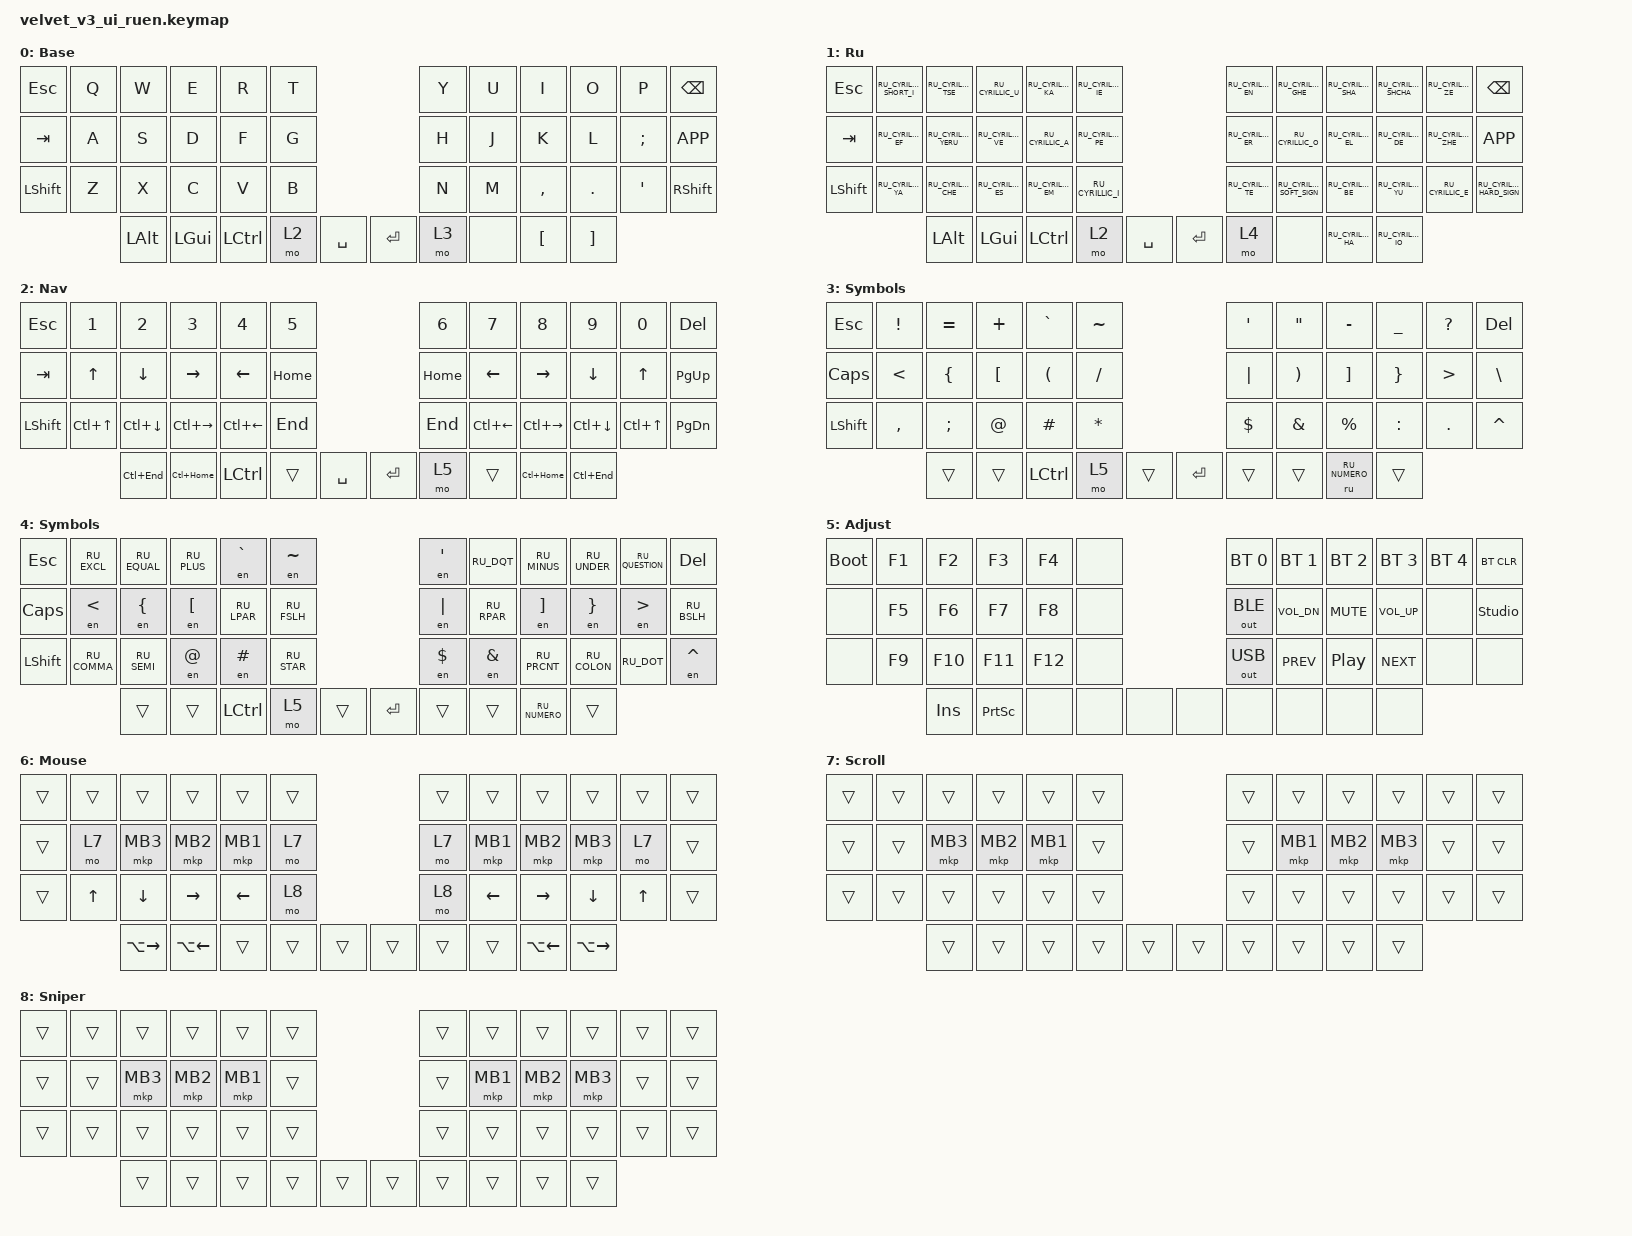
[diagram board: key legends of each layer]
#include "keys_ru.h"
#include <dt-bindings/zmk/input_transform.h>
#include <input/processors.dtsi>
#include <zephyr/dt-bindings/input/input-event-codes.h>
#include <behaviors.dtsi>
#include <dt-bindings/zmk/bt.h>
#include <dt-bindings/zmk/keys.h>
#include <dt-bindings/zmk/outputs.h>
#include <dt-bindings/zmk/pointing.h>

/ {
    behaviors {
        cap_sen: cap_sen {
            compatible = "zmk,behavior-hold-tap";
            label = "CAP_SEN";
            bindings = <&mo>, <&mkp>;

            #binding-cells = <2>;
            tapping-term-ms = <150>;
            hold-while-undecided;
        };

        mouse_layer: mouse_layer {
            compatible = "zmk,behavior-sticky-key";
            label = "MOUSE_LAYER";
            bindings = <&mo>;
            #binding-cells = <1>;
            release-after-ms = <500>;
        };

        zip_auto_mouse: zip_auto_mouse {
            compatible = "zmk,input-processor-temp-layer";
            #input-processor-cells = <2>;
            require-prior-idle-ms = <800>;
            excluded-positions = <>;
        };
    };

    combos {
        compatible = "zmk,combos";

        cmben {
            bindings = <&layer_en>;
            key-positions = <19 20>;
            layers = <1>;
        };

        cmbru {
            bindings = <&layer_ru>;
            key-positions = <15 16>;
            layers = <0>;
        };
    };

    macros {
        to_ru: to_ru {
            compatible = "zmk,behavior-macro";
            #binding-cells = <0>;
            bindings = <&kp LS(LC(N2))>;
            label = "TO_RU";
            wait-ms = <0>;
            tap-ms = <30>;
        };

        to_en: to_en {
            compatible = "zmk,behavior-macro";
            #binding-cells = <0>;
            bindings = <&kp LS(LC(N1))>;
            label = "TO_EN";
            wait-ms = <0>;
            tap-ms = <30>;
        };

        layer_en: layer_en {
            compatible = "zmk,behavior-macro";
            #binding-cells = <0>;
            bindings = <&to 0 &to_en>;
            label = "LAYER_EN";
            wait-ms = <0>;
            tap-ms = <30>;
        };

        layer_ru: layer_ru {
            compatible = "zmk,behavior-macro";
            #binding-cells = <0>;
            bindings = <&to 1 &to_ru>;
            label = "LAYER_RU";
            tap-ms = <30>;
            wait-ms = <0>;
        };

        en: en {
            compatible = "zmk,behavior-macro-one-param";
            #binding-cells = <1>;
            bindings =
                <&to_en>,
                <&macro_press>,
                <&macro_param_1to1 &kp MACRO_PLACEHOLDER>,
                <&macro_pause_for_release>,
                <&macro_release>,
                <&macro_param_1to1 &kp MACRO_PLACEHOLDER>,
                <&macro_tap>,
                <&to_ru>;

            label = "EN";
            wait-ms = <0>;
            tap-ms = <30>;
        };

        ru: ru {
            compatible = "zmk,behavior-macro-one-param";
            #binding-cells = <1>;
            bindings =
                <&to_ru>,
                <&macro_press>,
                <&macro_param_1to1 &kp MACRO_PLACEHOLDER>,
                <&macro_pause_for_release>,
                <&macro_release>,
                <&macro_param_1to1 &kp MACRO_PLACEHOLDER>,
                <&macro_tap>,
                <&to_en>;

            label = "RU";
            wait-ms = <0>;
            tap-ms = <30>;
        };
    };

    keymap {
        compatible = "zmk,keymap";

        en {
            bindings = <
&kp ESC    &kp Q  &kp W     &kp E     &kp R      &kp T                        &kp Y  &kp U  &kp I      &kp O     &kp P     &kp BSPC
&kp TAB    &kp A  &kp S     &kp D     &kp F      &kp G                        &kp H  &kp J  &kp K      &kp L     &kp SEMI  &kp K_APP
&kp LSHFT  &kp Z  &kp X     &kp C     &kp V      &kp B                        &kp N  &kp M  &kp COMMA  &kp DOT   &kp SQT   &kp RSHFT
                  &kp LALT  &kp LGUI  &kp LCTRL  &mo 2  &kp SPACE    &kp RET  &mo 3  &none  &kp LBKT   &kp RBKT
            >;

            display-name = "Base";
        };

        ru {
            display-name = "Ru";
            bindings = <
&kp ESC    &kp RU_CYRILLIC_SHORT_I  &kp RU_CYRILLIC_TSE   &kp RU_CYRILLIC_U   &kp RU_CYRILLIC_KA  &kp RU_CYRILLIC_IE                        &kp RU_CYRILLIC_EN  &kp RU_CYRILLIC_GHE        &kp RU_CYRILLIC_SHA  &kp RU_CYRILLIC_SHCHA  &kp RU_CYRILLIC_ZE   &kp BSPC
&kp TAB    &kp RU_CYRILLIC_EF       &kp RU_CYRILLIC_YERU  &kp RU_CYRILLIC_VE  &kp RU_CYRILLIC_A   &kp RU_CYRILLIC_PE                        &kp RU_CYRILLIC_ER  &kp RU_CYRILLIC_O          &kp RU_CYRILLIC_EL   &kp RU_CYRILLIC_DE     &kp RU_CYRILLIC_ZHE  &kp K_APP
&kp LSHFT  &kp RU_CYRILLIC_YA       &kp RU_CYRILLIC_CHE   &kp RU_CYRILLIC_ES  &kp RU_CYRILLIC_EM  &kp RU_CYRILLIC_I                         &kp RU_CYRILLIC_TE  &kp RU_CYRILLIC_SOFT_SIGN  &kp RU_CYRILLIC_BE   &kp RU_CYRILLIC_YU     &kp RU_CYRILLIC_E    &kp RU_CYRILLIC_HARD_SIGN
                                    &kp LALT              &kp LGUI            &kp LCTRL           &mo 2               &kp SPACE    &kp RET  &mo 4               &none                      &kp RU_CYRILLIC_HA   &kp RU_CYRILLIC_IO
            >;
        };

        nav {
            bindings = <
&kp ESC         &kp N1      &kp N2        &kp N3               &kp N4        &kp N5                          &kp N6    &kp N7        &kp N8               &kp N9        &kp N0      &kp DEL
&kp TAB         &kp UP      &kp DOWN      &kp RIGHT            &kp LEFT      &kp HOME                        &kp HOME  &kp LEFT      &kp RIGHT            &kp DOWN      &kp UP      &kp PG_UP
&kp LEFT_SHIFT  &kp LC(UP)  &kp LC(DOWN)  &kp LC(RIGHT_ARROW)  &kp LC(LEFT)  &kp END                         &kp END   &kp LC(LEFT)  &kp LC(RIGHT_ARROW)  &kp LC(DOWN)  &kp LC(UP)  &kp PAGE_DOWN
                            &kp LC(END)   &kp LC(HOME)         &kp LCTRL     &trans    &kp SPACE    &kp RET  &mo 5     &trans        &kp LC(HOME)         &kp LC(END)
            >;

            display-name = "Nav";
        };

        sym_en {
            bindings = <
&kp ESC         &kp EXCL   &kp EQUAL  &kp PLUS  &kp GRAVE  &kp TILDE                     &kp SQT   &kp DQT   &kp MINUS      &kp UNDER  &kp QUESTION  &kp DEL
&kp CAPS        &kp LT     &kp LBRC   &kp LBKT  &kp LPAR   &kp FSLH                      &kp PIPE  &kp RPAR  &kp RBKT       &kp RBRC   &kp GT        &kp BACKSLASH
&kp LEFT_SHIFT  &kp COMMA  &kp SEMI   &kp AT    &kp HASH   &kp STAR                      &kp DLLR  &kp AMPS  &kp PRCNT      &kp COLON  &kp DOT       &kp CARET
                           &trans     &trans    &kp LCTRL  &mo 5      &trans    &kp RET  &trans    &trans    &ru RU_NUMERO  &trans
            >;

            display-name = "Symbols";
        };

        sym_ru {
            display-name = "Symbols";
            bindings = <
&kp ESC         &kp RU_EXCL   &kp RU_EQUAL  &kp RU_PLUS  &en GRAVE    &en TILDE                       &en SQT   &kp RU_DQT   &kp RU_MINUS   &kp RU_UNDER  &kp RU_QUESTION  &kp DEL
&kp CAPS        &en LT        &en LBRC      &en LBKT     &kp RU_LPAR  &kp RU_FSLH                     &en PIPE  &kp RU_RPAR  &en RBKT       &en RBRC      &en GT           &kp RU_BSLH
&kp LEFT_SHIFT  &kp RU_COMMA  &kp RU_SEMI   &en AT       &en HASH     &kp RU_STAR                     &en DLLR  &en AMPS     &kp RU_PRCNT   &kp RU_COLON  &kp RU_DOT       &en CARET
                              &trans        &trans       &kp LCTRL    &mo 5        &trans    &kp RET  &trans    &trans       &kp RU_NUMERO  &trans
            >;
        };

        adj {
            bindings = <
&bootloader  &kp F1  &kp F2   &kp F3           &kp F4   &none                  &bt BT_SEL 0  &bt BT_SEL 1  &bt BT_SEL 2      &bt BT_SEL 3  &bt BT_SEL 4  &bt BT_CLR
&none        &kp F5  &kp F6   &kp F7           &kp F8   &none                  &out OUT_BLE  &kp C_VOL_DN  &kp C_MUTE        &kp C_VOL_UP  &none         &studio_unlock
&none        &kp F9  &kp F10  &kp F11          &kp F12  &none                  &out OUT_USB  &kp C_PREV    &kp C_PLAY_PAUSE  &kp C_NEXT    &none         &none
                     &kp INS  &kp PRINTSCREEN  &none    &none  &none    &none  &none         &none         &none             &none
            >;

            display-name = "Adjust";
        };

        mouse {
            bindings = <
&trans  &trans  &trans               &trans              &trans    &trans                    &trans  &trans    &trans              &trans               &trans  &trans
&trans  &mo 7   &mkp MB3             &mkp MB2            &mkp MB1  &mo 7                     &mo 7   &mkp MB1  &mkp MB2            &mkp MB3             &mo 7   &trans
&trans  &kp UP  &kp DOWN             &kp RIGHT           &kp LEFT  &mo 8                     &mo 8   &kp LEFT  &kp RIGHT           &kp DOWN             &kp UP  &trans
                &kp LA(RIGHT_ARROW)  &kp LA(LEFT_ARROW)  &trans    &trans  &trans    &trans  &trans  &trans    &kp LA(LEFT_ARROW)  &kp LA(RIGHT_ARROW)
            >;

            display-name = "Mouse";
        };

        scroll {
            bindings = <
&trans  &trans  &trans    &trans    &trans    &trans                    &trans  &trans    &trans    &trans    &trans  &trans
&trans  &trans  &mkp MB3  &mkp MB2  &mkp MB1  &trans                    &trans  &mkp MB1  &mkp MB2  &mkp MB3  &trans  &trans
&trans  &trans  &trans    &trans    &trans    &trans                    &trans  &trans    &trans    &trans    &trans  &trans
                &trans    &trans    &trans    &trans  &trans    &trans  &trans  &trans    &trans    &trans
            >;

            display-name = "Scroll";
        };

        sniper {
            bindings = <
&trans  &trans  &trans    &trans    &trans    &trans                    &trans  &trans    &trans    &trans    &trans  &trans
&trans  &trans  &mkp MB3  &mkp MB2  &mkp MB1  &trans                    &trans  &mkp MB1  &mkp MB2  &mkp MB3  &trans  &trans
&trans  &trans  &trans    &trans    &trans    &trans                    &trans  &trans    &trans    &trans    &trans  &trans
                &trans    &trans    &trans    &trans  &trans    &trans  &trans  &trans    &trans    &trans
            >;

            display-name = "Sniper";
        };
    };
};

&trackball { cpi = <1000>; };

&trackball_listener {
    input-processors = <&zip_auto_mouse 6 500>, <&zip_xy_scaler 9 20>;

    scroller {
        layers = <7>;
        input-processors =
            <&zip_xy_transform INPUT_TRANSFORM_Y_INVERT>,
            <&zip_xy_scaler 1 32>,
            <&zip_xy_to_scroll_mapper>;
    };

    sniper {
        layers = <8>;
        input-processors = <&zip_xy_scaler 1 4>;
    };
};
